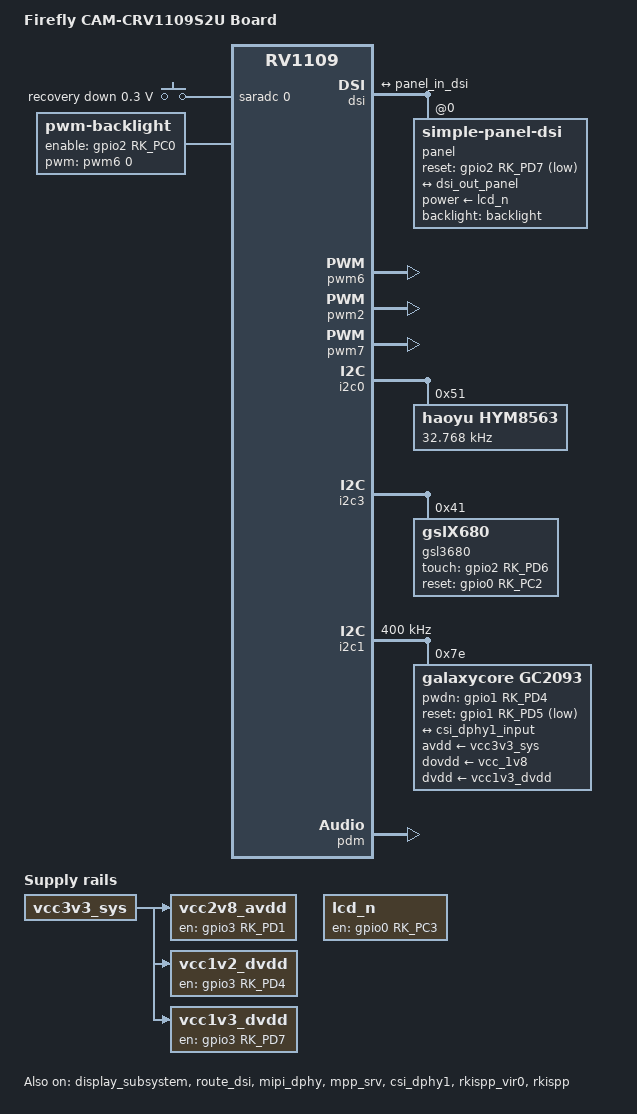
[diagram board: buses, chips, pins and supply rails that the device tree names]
// SPDX-License-Identifier: (GPL-2.0+ OR MIT)
/*
 * Copyright (c) 2019 Fuzhou Rockchip Electronics Co., Ltd.
 */

#include "rv1126-firefly-nrk809.dtsi"
#include <dt-bindings/display/media-bus-format.h>

/ {
	model = "Firefly CAM-CRV1109S2U Board";
	compatible = "rockchip,rv1109-ai-cam-ddr3L-v1", "rockchip,rv1109";
	
	chosen {
		bootargs = "earlycon=uart8250,mmio32,0xff570000 console=ttyFIQ0 ro root=PARTLABEL=rootfs rootfstype=ext4 rootwait overlayroot=device:dev=PARTLABEL=userdata,fstype=ext4,mkfs=1 cgroup_enable=memory swapaccount=1 snd_aloop.index=7";
	};
	
	dummy_codec: dummy-codec {
		compatible = "rockchip,dummy-codec";
		#sound-dai-cells = <0>;
	};

	pdm_mic_array: pdm-mic_array {
		status = "okay";
		compatible = "simple-audio-card";
		simple-audio-card,name = "rockchip,pdm-mic-array";
		simple-audio-card,cpu {
			sound-dai = <&pdm>;
		};
		simple-audio-card,codec {
			sound-dai = <&dummy_codec>;
		};
	};


        adc_key: adc-keys {
                
		compatible = "adc-keys";
                autorepeat;
                io-channels = <&saradc 0>;
                io-channel-names = "buttons";
                keyup-threshold-microvolt = <1800000>;
                poll-interval = <100>;
                    
                recovery-key {
                        linux,code = <KEY_KP9>;
                        label = "recovery down";
                        press-threshold-microvolt = <300000>;
                };  

        };

	vcc2v8_avdd: vcc-avdd {
		compatible = "regulator-fixed";
		gpio = <&gpio3 RK_PD1 GPIO_ACTIVE_HIGH>;
		pinctrl-0 = <&vcc2v8_avdd_ctl>;
		pinctrl-names = "default";
		regulator-name = "vcc_avdd";
		vin-supply = <&vcc3v3_sys>;
		enable-active-high;
                regulator-always-on;
	};
	
	vcc1v2_dvdd: vcc1v2-dvdd {
		compatible = "regulator-fixed";
		gpio = <&gpio3 RK_PD4 GPIO_ACTIVE_HIGH>;
		pinctrl-0 = <&vcc1v2_dvdd_ctl>;
		pinctrl-names = "default";
		regulator-name = "vcc1v2_dvdd";
		vin-supply = <&vcc3v3_sys>;
		enable-active-high;
                regulator-always-on;
	};

	vcc1v3_dvdd: vcc1v3-dvdd {
		compatible = "regulator-fixed";
		gpio = <&gpio3 RK_PD7 GPIO_ACTIVE_HIGH>;
		pinctrl-0 = <&vcc1v3_dvdd_ctl>;
		pinctrl-names = "default";
		regulator-name = "vcc1v3_dvdd";
		vin-supply = <&vcc3v3_sys>;
		enable-active-high;
                regulator-always-on;
	};

	lcd_n: lcd-n {
		compatible = "regulator-fixed";
		gpio = <&gpio0 RK_PC3 GPIO_ACTIVE_HIGH>;
		pinctrl-0 = <&lcd_ctl>;
		pinctrl-names = "default";
		regulator-name = "lcd_n";
		enable-active-high;
                regulator-always-on;
	};

	backlight: backlight {
		status = "okay";
		compatible = "pwm-backlight";
		enable-gpios = <&gpio2 RK_PC0 GPIO_ACTIVE_HIGH>;
		pinctrl-0 = <&bl_ctl>;
		pinctrl-names = "default";
		pwms = <&pwm6 0 50000 1>;
    		polarity = <1>;
		brightness-levels = <
			  0   1   2   3   4   5   6   7
			  8   9  10  11  12  13  14  15
			 16  17  18  19  20  21  22  23
			 24  25  26  27  28  29  30  31
			 32  33  34  35  36  37  38  39
			 40  41  42  43  44  45  46  47
			 48  49  50  51  52  53  54  55
			 56  57  58  59  60  61  62  63
			 64  65  66  67  68  69  70  71
			 72  73  74  75  76  77  78  79
			 80  81  82  83  84  85  86  87
			 88  89  90  91  92  93  94  95
			 96  97  98  99 100 101 102 103
			104 105 106 107 108 109 110 111
			112 113 114 115 116 117 118 119
			120 121 122 123 124 125 126 127
			128 129 130 131 132 133 134 135
			136 137 138 139 140 141 142 143
			144 145 146 147 148 149 150 151
			152 153 154 155 156 157 158 159
			160 161 162 163 164 165 166 167
			168 169 170 171 172 173 174 175
			176 177 178 179 180 181 182 183
			184 185 186 187 188 189 190 191
			192 193 194 195 196 197 198 199
			200 201 202 203 204 205 206 207
			208 209 210 211 212 213 214 215
			216 217 218 219 220 221 222 223
			224 225 226 227 228 229 230 231
			232 233 234 235 236 237 238 239
			240 241 242 243 244 245 246 247
			248 249 250 251 252 253 254 255>;
		default-brightness-level = <200>;
	};

};

&display_subsystem {
	status = "okay";
};

&dsi {
	status = "okay";

	rockchip,lane-rate = <500>;
	panel@0 {
		compatible = "simple-panel-dsi";

		reg = <0>;
		backlight = <&backlight>;
		power-supply = <&lcd_n>;
		reset-gpios = <&gpio2 RK_PD7 GPIO_ACTIVE_LOW>; 

		dsi,flags = <(MIPI_DSI_MODE_VIDEO_BURST | MIPI_DSI_MODE_VIDEO |
				MIPI_DSI_MODE_LPM )>;
		dsi,format = <MIPI_DSI_FMT_RGB888>;
		bus-format = <MEDIA_BUS_FMT_RGB666_1X18>;
		dsi,lanes = <4>;

		prepare-delay-ms = <120>;
        	reset-delay-ms = <120>;
        	init-delay-ms = <120>;
        	enable-delay-ms = <120>;
        	unprepare-delay-ms = <120>;
        	disable-delay-ms = <120>;

		size,width = <120>;
		size,height = <170>;

		status = "okay";
		
		width-mm = <135>;
		height-mm = <217>;



		panel-init-sequence = [
			15 00 02 E0 00
				15 00 02 E1 93
				15 00 02 E2 65
				15 00 02 E3 F8

				15 00 02 E0 04
				15 00 02 2D 03

				15 00 02 E0 00
				15 00 02 80 03


				15 00 02 E0 01
				15 00 02 00 00

				15 00 02 E0 01
				15 00 02 4B 04

				15 00 02 00 00
				15 00 02 01 66

				15 00 02 17 00

				15 00 02 18 AF
				15 00 02 19 01
				15 00 02 1A 00
				15 00 02 1B AF

				15 00 02 1C 01
				15 00 02 1F 3E

				15 00 02 20 28
				15 00 02 21 28
				15 00 02 22 7E
				15 00 02 35 05

				15 00 02 37 09

				15 00 02 38 04
				15 00 02 39 00
				15 00 02 3A 01
				15 00 02 3C 76
				15 00 02 3D FF
				15 00 02 3E FF
				15 00 02 3F 7F

				15 00 02 40 06
				15 00 02 41 A0
				15 00 02 42 81
				15 00 02 43 08
				15 00 02 44 0B
				15 00 02 45 28

				15 00 02 55 0F
				15 00 02 56 01
				15 00 02 57 69
				15 00 02 58 0A
				15 00 02 59 0A
				15 00 02 5A 29
				15 00 02 5B 15
				
				15 00 02 5D 7C
				15 00 02 5E 66
				15 00 02 5F 57
				15 00 02 60 4A
				15 00 02 61 46
				15 00 02 62 36
				15 00 02 63 3A
				15 00 02 64 23
				15 00 02 65 3A
				15 00 02 66 38
				15 00 02 67 38
				15 00 02 68 55
				15 00 02 69 43
				15 00 02 6A 4A
				15 00 02 6B 3B
				15 00 02 6C 36
				15 00 02 6D 28
				15 00 02 6E 15
				15 00 02 6F 00
				15 00 02 70 7C
				15 00 02 71 66
				15 00 02 72 57
				15 00 02 73 4A
				15 00 02 74 46

				15 00 02 75 36
				15 00 02 76 3A
				15 00 02 77 23
				15 00 02 78 3A
				15 00 02 79 38
				15 00 02 7A 38
				15 00 02 7B 55
				15 00 02 7C 43
				15 00 02 7D 4A
				15 00 02 7E 3B
				15 00 02 7F 36
				15 00 02 80 28
				15 00 02 81 15
				15 00 02 82 00

				15 00 02 E0 02

				15 00 02 00 1E
				15 00 02 01 1E
				15 00 02 02 41
				15 00 02 03 41
				15 00 02 04 43
				15 00 02 05 43
				15 00 02 06 1F
				15 00 02 07 1F
				15 00 02 08 35
				15 00 02 09 1F
				15 00 02 0A 15
				15 00 02 0B 15
				15 00 02 0C 1F
				15 00 02 0D 47
				15 00 02 0E 47
				15 00 02 0F 45
				15 00 02 10 45
				15 00 02 11 4B
				15 00 02 12 4B
				15 00 02 13 49
				15 00 02 14 49
				15 00 02 15 1F

				15 00 02 16 1E
				15 00 02 17 1E
				15 00 02 18 40
				15 00 02 19 40
				15 00 02 1A 42
				15 00 02 1B 42
				15 00 02 1C 1F
				15 00 02 1D 1F
				15 00 02 1E 35
				15 00 02 1F 1F
				15 00 02 20 15
				15 00 02 21 15
				15 00 02 22 1F
				15 00 02 23 46
				15 00 02 24 46
				15 00 02 25 44
				15 00 02 26 44
				15 00 02 27 4A
				15 00 02 28 4A
				15 00 02 29 48
				15 00 02 2A 48
				15 00 02 2B 1F

				15 00 02 2C 1F
				15 00 02 2D 1F
				15 00 02 2E 42
				15 00 02 2F 42

				15 00 02 30 40
				15 00 02 31 40
				15 00 02 32 1E
				15 00 02 33 1E
				15 00 02 34 1F
				15 00 02 35 1F
				15 00 02 36 1E
				15 00 02 37 1E
				15 00 02 38 1F
				15 00 02 39 48
				15 00 02 3A 48
				15 00 02 3B 4A
				15 00 02 3C 4A
				15 00 02 3D 44
				15 00 02 3E 44
				15 00 02 3F 46
				15 00 02 40 46
				15 00 02 41 1F

				15 00 02 42 1F
				15 00 02 43 1F
				15 00 02 44 43
				15 00 02 45 43
				15 00 02 46 41
				15 00 02 47 41
				15 00 02 48 1E
				15 00 02 49 1E
				15 00 02 4A 1E
				15 00 02 4B 1F
				15 00 02 4C 1E
				15 00 02 4D 1E
				15 00 02 4E 1F
				15 00 02 4F 49
				15 00 02 50 49
				15 00 02 51 4B
				15 00 02 52 4B
				15 00 02 53 45
				15 00 02 54 45
				15 00 02 55 47
				15 00 02 56 47
				15 00 02 57 1F

				15 00 02 58 40
				15 00 02 59 00
				15 00 02 5A 00
				15 00 02 5B 30
				15 00 02 5C 03
				15 00 02 5D 30
				15 00 02 5E 01
				15 00 02 5F 02
				15 00 02 60 30

				15 00 02 61 01
				15 00 02 62 02
				15 00 02 63 14
				15 00 02 64 6A
				15 00 02 65 05
				15 00 02 66 12
				15 00 02 67 73
				15 00 02 68 05
				15 00 02 69 14
				15 00 02 6A 6A
				15 00 02 6B 08
				15 00 02 6C 00
				15 00 02 6D 00
				15 00 02 6E 00
				15 00 02 6F 88
				15 00 02 70 00
				15 00 02 71 00
				15 00 02 72 06
				15 00 02 73 7B
				15 00 02 74 00
				15 00 02 75 07
				15 00 02 76 00
				15 00 02 77 DD
				15 00 02 78 17
				15 00 02 79 0E
				15 00 02 7A 03
				15 00 02 7B 00
				15 00 02 7C 00
				15 00 02 7D 14
				15 00 02 7E 6A

				15 00 02 E0 04
				15 00 02 2B 2B
				15 00 02 2E 44
				15 00 02 09 11
				15 00 02 2D 03
				15 00 02 0E 48

				15 00 02 E0 00
				15 00 02 E6 02
				15 00 02 E7 02

				05 78 01 11
				05 05 01 29
				15 00 02 35 00
		];

		panel-exit-sequence = [
				05 05 01 28
				05 78 01 10
		];

		display-timings {
			native-mode = <&timing0>;
			timing0: timing0 {
		 		clock-frequency = <70000000>;//<80000000>;
		 		hactive = <800>;//<768>;
				vactive = <1280>;
		 		hsync-len = <10>;   //20, 50,10
		 		hback-porch = <10>; //50, 56,10
		 		hfront-porch = <180>;//50, 30,180
		 		vsync-len = <4>;//4
		 		vback-porch = <4>;//4
		 		vfront-porch = <8>;//8
		 		hsync-active = <0>;
		 		vsync-active = <0>;
		 		de-active = <0>;
		 		pixelclk-active = <0>;
	 		};
		};

		ports {
			#address-cells = <1>;
			#size-cells = <0>;

			port@0 {
				reg = <0>;
				panel_in_dsi: endpoint {
		      			remote-endpoint = <&dsi_out_panel>;
	      			};
			};
		};
	};

	ports {
		#address-cells = <1>;
		#size-cells = <0>;

		port@1 {
			reg = <1>;
			dsi_out_panel: endpoint {
		       		remote-endpoint = <&panel_in_dsi>;
	       		};
		};
	};
};

&route_dsi {
	status = "okay";
	logo,uboot = "logo.bmp";
	logo,kernel = "logo_kernel.bmp";

};

&pwm6 {
	status = "okay";
	pinctrl-names = "active";
	pinctrl-0 = <&pwm6m0_pins>;
};

&pwm2 {
	status = "okay";
	pinctrl-names = "active";
	pinctrl-0 = <&pwm2m0_pins>;
};

&pwm7 {
	status = "okay";
	pinctrl-names = "active";
	pinctrl-0 = <&pwm7m0_pins>;
};

&i2c0 {
	status = "okay";
	hym8563: hym8563@51 {
		 compatible = "haoyu,hym8563";
		 reg = <0x51>;
                 #clock-cells = <0>;
		 clock-frequency = <32768>;
		 clock-output-names = "rtc_32k";
	};

};

&i2c3 {
	status = "okay";
	pinctrl-0 = <&i2c3m1_xfer>;
	gsl3680: gsl3680@40 {
             status = "okay";
              compatible = "gslX680";
              reg = <0x41>;
              screen_max_x = <800>;
              screen_max_y = <1280>;
              touch-gpio = <&gpio2 RK_PD6 IRQ_TYPE_EDGE_RISING>;
              reset-gpio = <&gpio0 RK_PC2 GPIO_ACTIVE_HIGH>;
              flip-x = <1>;
              flip-y = <0>;
              swap-xy = <0>;
              gsl,fw = <1>;
     };

};

&i2c1 {
	status = "okay";
	clock-frequency = <400000>;

	/delete-node/ ar0230@10;
	/delete-node/ ov4689@36;
	/delete-node/ os04a10@36;

        gc2093: gc2093@7e {

		compatible = "galaxycore,gc2093";
                reg = <0x7e>;
                clocks = <&cru CLK_MIPICSI_OUT>;
                clock-names = "xvclk";
                power-domains = <&power RV1126_PD_VI>;
                pinctrl-names = "default";
                pinctrl-0 = <&mipicsi_clk1>;
                avdd-supply = <&vcc3v3_sys>;
		dovdd-supply = <&vcc_1v8>;
		dvdd-supply = <&vcc1v3_dvdd>;

		pwdn-gpios = <&gpio1 RK_PD4 GPIO_ACTIVE_HIGH>;
		reset-gpios = <&gpio1 RK_PD5 GPIO_ACTIVE_LOW>;

		rockchip,camera-module-index = <1>;
                rockchip,camera-module-facing = "front";
                rockchip,camera-module-name = "FF-RV1109-2-V1";
                rockchip,camera-module-lens-name = "40IR-2MP-F20";
                port {
                        ucam_out1: endpoint {
                                remote-endpoint = <&csi_dphy1_input>;
                                data-lanes = <1 2>;
                        };
                };
        };
};

&mipi_dphy {
	status = "okay";
};

&mpp_srv {
	status = "okay";
};

&csi_dphy1 {
	status = "okay";
	ports {
		port@0 {
			csi_dphy1_input: endpoint@1 {
				remote-endpoint = <&ucam_out1>;
				data-lanes = <1 2>;
			};
		};
		port@1 {
			csi_dphy1_output: endpoint@0 {
				remote-endpoint = <&isp_in>;
				data-lanes = <1 2>;
			};
		};
	};
};

&rkisp_vir0 {
	ports {
		port@0 {
			isp_in: endpoint@0 {
				remote-endpoint = <&csi_dphy1_output>;
			};
		};
		port@1 {
			isp0_out: endpoint@1 {
				remote-endpoint = <&ispp0_in>;
			};
		};
	};
};

&rkispp_vir0 {
	status = "okay";
	port {
		ispp0_in: endpoint@0 {
			remote-endpoint = <&isp0_out>;
		};
	};
};

&rkispp {
	status = "okay";
};

&pdm {
	status = "okay";
	#sound-dai-cells = <0>;
	pinctrl-names = "default";
	pinctrl-0 = <&pdmm1_clk
		     &pdmm1_clk1
		     &pdmm1_sdi1>;
};

&pinctrl {
	csi_ctl {
		vcc2v8_avdd_ctl: vcc2v8-avdd-ctl {
			rockchip,pins =
				<3 RK_PD1 RK_FUNC_GPIO &pcfg_pull_up>;
		};

		vcc1v2_dvdd_ctl: vcc1v2-dvdd-ctl {
			rockchip,pins =
				<3 RK_PD4 RK_FUNC_GPIO &pcfg_pull_up>;
		};

		vcc1v3_dvdd_ctl: vcc1v3-dvdd-ctl {
			rockchip,pins =
				<3 RK_PD7 RK_FUNC_GPIO &pcfg_pull_up>;
		};

		bl_ctl: bl-ctl {
			rockchip,pins =
				<2 RK_PC0 RK_FUNC_GPIO &pcfg_pull_up>;
		};
		
		lcd_ctl: lcd-ctl {
			rockchip,pins =
				<0 RK_PC3 RK_FUNC_GPIO &pcfg_pull_up>;
		};

		lcd_rst_ctl: lcd-rst-ctl {
			rockchip,pins =
				<2 RK_PD7 RK_FUNC_GPIO &pcfg_pull_up>;
		};


		bl_pwm_ctl: bl-pwm-ctl {
			rockchip,pins =
				<0 RK_PB2 RK_FUNC_GPIO &pcfg_pull_up>;
		};



	};
};


